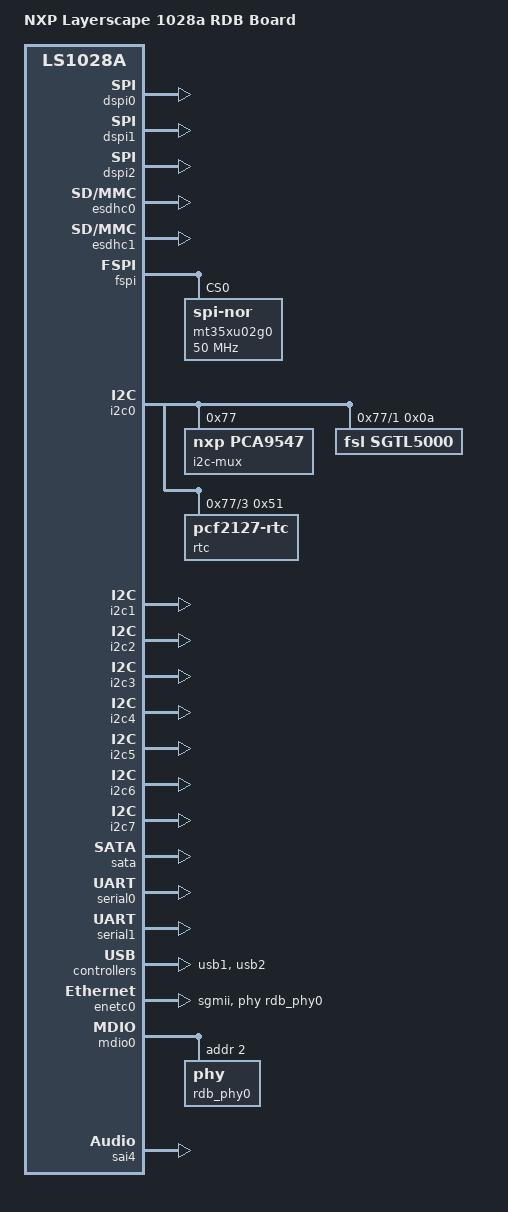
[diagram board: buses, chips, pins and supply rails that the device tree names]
// SPDX-License-Identifier: GPL-2.0+ OR X11
/*
 * NXP ls1028ARDB device tree source
 *
 * Copyright 2019 NXP
 *
 */

/dts-v1/;

#include "fsl-ls1028a.dtsi"

/ {
	model = "NXP Layerscape 1028a RDB Board";
	compatible = "fsl,ls1028a-rdb", "fsl,ls1028a";
	aliases {
		spi0 = &fspi;
	};

	sound {
		compatible = "fsl,audio-sgtl5000";
		model = "ls1028a-sgtl5000";
		audio-cpu = <&sai4>;
		audio-codec = <&sgtl5000>;
		audio-routing =
			"LINE_IN", "Line In Jack",
			"MIC_IN", "Mic Jack",
			"Mic Jack", "Mic Bias",
			"Headphone Jack", "HP_OUT";
	};
};

&dspi0 {
	status = "okay";
};

&dspi1 {
	status = "okay";
};

&dspi2 {
	status = "okay";
};

&esdhc0 {
	status = "okay";
};

&esdhc1 {
	status = "okay";
	mmc-hs200-1_8v;
};

&fspi {
	status = "okay";

	mt35xu02g0: flash@0 {
		#address-cells = <1>;
		#size-cells = <1>;
		compatible = "jedec,spi-nor";
		spi-max-frequency = <50000000>;
		reg = <0>;
		spi-rx-bus-width = <8>;
		spi-tx-bus-width = <1>;
	};
};

&i2c0 {
	status = "okay";
	u-boot,dm-pre-reloc;

	 i2c-mux@77 {

		compatible = "nxp,pca9547";
		reg = <0x77>;
		#address-cells = <1>;
		#size-cells = <0>;

		i2c@1 {
			#address-cells = <1>;
			#size-cells = <0>;
			reg = <0x1>;

			sgtl5000: codec@a {
				#sound-dai-cells = <0>;
				compatible = "fsl,sgtl5000";
				reg = <0xa>;
				VDDA-supply = <1800>;
				VDDIO-supply = <1800>;
				sys_mclk = <25000000>;
				sclk-strength = <3>;
			};
		};

		i2c@3 {
			#address-cells = <1>;
			#size-cells = <0>;
			reg = <0x3>;

			rtc@51 {
				compatible = "pcf2127-rtc";
				reg = <0x51>;
			};
		};
	};
};

&i2c1 {
	status = "okay";
};

&i2c2 {
	status = "okay";
};

&i2c3 {
	status = "okay";
};

&i2c4 {
	status = "okay";
};

&i2c5 {
	status = "okay";
};

&i2c6 {
	status = "okay";
};

&i2c7 {
	status = "okay";
};

&sata {
	status = "okay";
};

&serial0 {
	status = "okay";
};

&serial1 {
	status = "okay";
};

&usb1 {
	status = "okay";
};

&usb2 {
	status = "okay";
};

&enetc0 {
	status = "okay";
	phy-mode = "sgmii";
	phy-handle = <&rdb_phy0>;
};

&mdio0 {
	status = "okay";
	rdb_phy0: phy@2 {
		reg = <2>;
	};
};

&sai4 {
        status = "okay";
};
